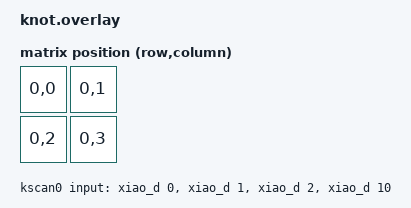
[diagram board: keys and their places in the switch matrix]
#include <dt-bindings/zmk/matrix_transform.h>

/ {
    chosen {
        zmk,kscan = &kscan0;
        zmk,matrix_transform = &default_transform;
    };

    kscan0: kscan {
        compatible = "zmk,kscan-gpio-direct";
        wakeup-source;
        input-gpios
            = <&xiao_d 0 (GPIO_ACTIVE_LOW | GPIO_PULL_UP)>
            , <&xiao_d 1 (GPIO_ACTIVE_LOW | GPIO_PULL_UP)>
            , <&xiao_d 2 (GPIO_ACTIVE_LOW | GPIO_PULL_UP)>
            , <&xiao_d 10 (GPIO_ACTIVE_LOW | GPIO_PULL_UP)>
            ;
    };

    default_transform: keymap_transform_0 {
        compatible = "zmk,matrix-transform";
        rows = <2>;
        columns = <2>;
        map = <
            RC(0,0) RC(0,1)
            RC(0,2) RC(0,3)
        >;
    };
};

&pinctrl {
    spi0_default: spi0_default {

        group1 {
            psels = <NRF_PSEL(SPIM_SCK, 0, 5)>,
                    <NRF_PSEL(SPIM_MOSI, 0, 4)>,
                    <NRF_PSEL(SPIM_MISO, 0, 4)>;
        };
    };

    spi0_sleep: spi0_sleep {
        group1 {
            psels = <NRF_PSEL(SPIM_SCK, 0, 5)>,
                    <NRF_PSEL(SPIM_MOSI, 0, 4)>,
                    <NRF_PSEL(SPIM_MISO, 0, 4)>;
            low-power-enable;
        };
    };
};

#include <zephyr/dt-bindings/input/input-event-codes.h>

&spi0 {
    status = "okay";
    compatible = "nordic,nrf-spim";
    pinctrl-0 = <&spi0_default>;
    pinctrl-1 = <&spi0_sleep>;
    pinctrl-names = "default", "sleep";
    cs-gpios = <&xiao_d 6 GPIO_ACTIVE_LOW>;

    trackball: trackball@0 {
        status = "okay";
        compatible = "pixart,pmw3610";
        reg = <0>;
        spi-max-frequency = <2000000>;
        irq-gpios = <&xiao_d 3 (GPIO_ACTIVE_LOW | GPIO_PULL_UP)>;
        cpi = <800>;
        evt-type = <INPUT_EV_REL>;
        x-input-code = <INPUT_REL_X>;
        y-input-code = <INPUT_REL_Y>;
    };
};

/ {
  trackball_listener {
    compatible = "zmk,input-listener";
    device = <&trackball>;
  };
}; 

